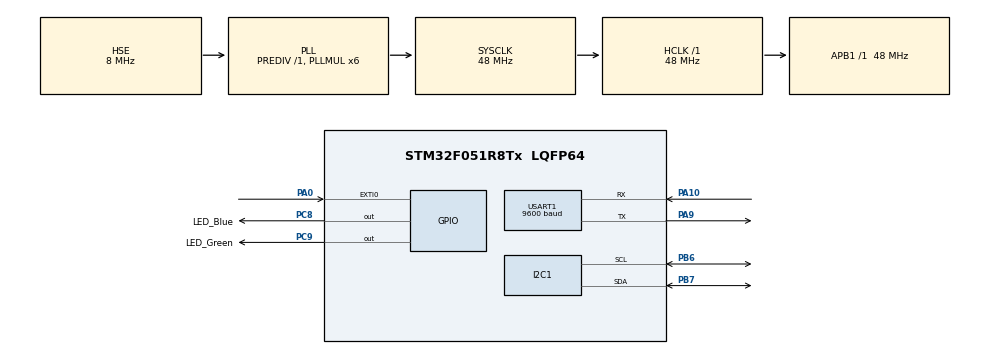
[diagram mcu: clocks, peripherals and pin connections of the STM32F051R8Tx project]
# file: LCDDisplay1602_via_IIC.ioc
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Dma.I2C1_TX.1.Direction=DMA_MEMORY_TO_PERIPH
Dma.I2C1_TX.1.Instance=DMA1_Channel2
Dma.I2C1_TX.1.MemDataAlignment=DMA_MDATAALIGN_BYTE
Dma.I2C1_TX.1.MemInc=DMA_MINC_ENABLE
Dma.I2C1_TX.1.Mode=DMA_NORMAL
Dma.I2C1_TX.1.PeriphDataAlignment=DMA_PDATAALIGN_BYTE
Dma.I2C1_TX.1.PeriphInc=DMA_PINC_DISABLE
Dma.I2C1_TX.1.Priority=DMA_PRIORITY_LOW
Dma.Request0=USART1_TX
Dma.Request1=I2C1_TX
Dma.USART1_TX.0.Direction=DMA_MEMORY_TO_PERIPH
Dma.USART1_TX.0.Instance=DMA1_Channel4
Dma.USART1_TX.0.MemDataAlignment=DMA_MDATAALIGN_BYTE
Dma.USART1_TX.0.MemInc=DMA_MINC_ENABLE
Dma.USART1_TX.0.Mode=DMA_NORMAL
Dma.USART1_TX.0.PeriphDataAlignment=DMA_PDATAALIGN_BYTE
Dma.USART1_TX.0.PeriphInc=DMA_PINC_DISABLE
Dma.USART1_TX.0.Priority=DMA_PRIORITY_LOW
I2C1.Timing=0x00201D2B
Mcu.Family=STM32F0
Mcu.Name=STM32F051R8Tx
Mcu.Package=LQFP64
NVIC.DMA1_Channel2_3_IRQn=true\:0\:0\:false\:false\:true\:false\:true\:true
NVIC.DMA1_Channel4_5_IRQn=true\:0\:0\:false\:false\:true\:false\:true\:true
NVIC.EXTI0_1_IRQn=true\:0\:0\:false\:false\:true\:true\:true\:true
NVIC.I2C1_IRQn=true\:0\:0\:false\:false\:true\:true\:true\:true
NVIC.TIM14_IRQn=true\:0\:0\:false\:false\:true\:true\:true\:true
NVIC.TIM6_DAC_IRQn=true\:0\:0\:false\:false\:true\:true\:true\:true
NVIC.USART1_IRQn=true\:0\:0\:false\:false\:true\:true\:true\:true
PA0.Signal=GPXTI0
PA10.Mode=Asynchronous
PA10.Signal=USART1_RX
PA9.Mode=Asynchronous
PA9.Signal=USART1_TX
PB6.GPIO_Pu=GPIO_PULLUP
PB6.Mode=I2C
PB6.Signal=I2C1_SCL
PB7.GPIO_Pu=GPIO_PULLUP
PB7.Mode=I2C
PB7.Signal=I2C1_SDA
PC8.GPIO_Label=LED_Blue
PC8.Signal=GPIO_Output
PC9.GPIO_Label=LED_Green
PC9.Signal=GPIO_Output
PF0-OSC_IN.Mode=HSE-External-Oscillator
PF0-OSC_IN.Signal=RCC_OSC_IN
PF1-OSC_OUT.Mode=HSE-External-Oscillator
PF1-OSC_OUT.Signal=RCC_OSC_OUT
ProjectManager.HeapSize=0x200
ProjectManager.StackSize=0x400
ProjectManager.TargetToolchain=STM32CubeIDE
RCC.AHBFreq_Value=48000000
RCC.APB1Freq_Value=48000000
RCC.APB1TimFreq_Value=48000000
RCC.HCLKFreq_Value=48000000
RCC.PLLMUL=RCC_PLL_MUL6
RCC.PLLSourceVirtual=RCC_PLLSOURCE_HSE
RCC.SYSCLKFreq_VALUE=48000000
RCC.SYSCLKSource=RCC_SYSCLKSOURCE_PLLCLK
TIM14.Period=1000-1
TIM14.Prescaler=48000-1
TIM6.Period=65535-1
TIM6.Prescaler=48-1
USART1.BaudRate=9600
USART1.VirtualMode-Asynchronous=VM_ASYNC
VP_TIM14_VS_ClockSourceINT.Mode=Enable_Timer
VP_TIM6_VS_ClockSourceINT.Mode=Enable_Timer
board=custom

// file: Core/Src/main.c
/* USER CODE BEGIN Header */
/*
 * LCD Display 1602A
 * Some code taken from: https://controllerstech.com/i2c-lcd-in-stm32/
 */
/* USER CODE END Header */
#include "main.h"

/* USER CODE BEGIN Includes */
#include <stdio.h>
/* USER CODE END Includes */

/* USER CODE BEGIN PD */
#define LCD_IIC_ADDR 0x27 << 1 	// ADDR 0x27<<1 Checked!
#define LCD_BACKLIGHT 0x08   	// Backlight ON/OFF
#define LCD_ENABLE 0x04      	// Enable bit
#define LCD_RS 0x01          	// Selects registers (Instruction or Data register)
/* USER CODE END PD */

I2C_HandleTypeDef hi2c1;
DMA_HandleTypeDef hdma_i2c1_tx;

TIM_HandleTypeDef htim6;
TIM_HandleTypeDef htim14;

UART_HandleTypeDef huart1;
DMA_HandleTypeDef hdma_usart1_tx;

/* USER CODE BEGIN PV */
uint8_t counter_periodic = 0;
uint8_t counter_button_pressed = 0;
char uart_tx_buffer_periodic[50];
char uart_tx_buffer_counter_button_pressed[50];
char iic_tx_buffer_periodic[16];
char iic_tx_buffer_counter_button_pressed[16];
/* USER CODE END PV */

void SystemClock_Config(void);
static void MX_GPIO_Init(void);
static void MX_DMA_Init(void);
static void MX_I2C1_Init(void);
static void MX_TIM6_Init(void);
static void MX_USART1_UART_Init(void);
static void MX_TIM14_Init(void);
/* USER CODE BEGIN PFP */
void lcd_iic_send_cmd (char cmd)
{
	char data_u, data_l;
	data_u = (cmd&0xf0);
	data_l = ((cmd<<4)&0xf0);
	uint8_t data_t[4];
	data_t[0] = data_u|0x0C;  //en=1, rs=0 -> bxxxx1100
	data_t[1] = data_u|0x08;  //en=0, rs=0 -> bxxxx1000
	data_t[2] = data_l|0x0C;  //en=1, rs=0 -> bxxxx1100
	data_t[3] = data_l|0x08;  //en=0, rs=0 -> bxxxx1000
	HAL_I2C_Master_Transmit (&hi2c1, LCD_IIC_ADDR,(uint8_t *) data_t, 4, 100);
}

void lcd_iic_send_data (char data)
{
	char data_u, data_l;
	uint8_t data_t[4];
	data_u = (data&0xf0);
	data_l = ((data<<4)&0xf0);
	data_t[0] = data_u|0x0D;  //en=1, rs=1 -> bxxxx1101
	data_t[1] = data_u|0x09;  //en=0, rs=1 -> bxxxx1001
	data_t[2] = data_l|0x0D;  //en=1, rs=1 -> bxxxx1101
	data_t[3] = data_l|0x09;  //en=0, rs=1 -> bxxxx1001
	HAL_I2C_Master_Transmit (&hi2c1, LCD_IIC_ADDR,(uint8_t *) data_t, 4, 100);
}

void lcd_iic_init (void)
{
  Delay_Ms(150);  // wait some extra ms
  // 4 bit initialisation
  Delay_Ms(50);  // wait for >40ms
  lcd_iic_send_cmd (0x30);
  Delay_Ms(5);  // wait for >4.1ms
  lcd_iic_send_cmd (0x30);
  Delay_Ms(1);  // wait for >100us
  lcd_iic_send_cmd (0x30);
  Delay_Ms(10);
  lcd_iic_send_cmd (0x20);  // 4bit mode
  Delay_Ms(10);

  // display initialisation
  lcd_iic_send_cmd (0x28); // Function set --> DL=0 (4 bit mode), N = 1 (2 line display) F = 0 (5x8 characters)
  Delay_Ms(1);
  lcd_iic_send_cmd (0x08); //Display on/off control --> D=0,C=0, B=0  ---> display off
  Delay_Ms(1);
  lcd_iic_send_cmd (0x01);  // clear display
  Delay_Ms(2);
  lcd_iic_send_cmd (0x06); //Entry mode set --> I/D = 1 (increment cursor) & S = 0 (no shift)
  Delay_Ms(1);
  lcd_iic_send_cmd (0x0C); //Display on/off control --> D = 1, C and B = 0. (Cursor and blink, last two bits)
}

void lcd_iic_send_string (char *str)
{
  while (*str) lcd_iic_send_data (*str++);
}

void lcd_iic_put_cursor(int row, int col)
{
    switch (row)
    {
        case 0:
            col |= 0x80;
            break;
        case 1:
            col |= 0xC0;
            break;
    }
    lcd_iic_send_cmd (col);
}
/* USER CODE END PFP */

int main(void)
{

  /* MCU Configuration--------------------------------------------------------*/

  /* Reset of all peripherals, Initializes the Flash interface and the Systick. */
  HAL_Init();

  /* Configure the system clock */
  SystemClock_Config();

  /* Initialize all configured peripherals */
  MX_GPIO_Init();
  MX_DMA_Init();
  MX_I2C1_Init();
  MX_TIM6_Init();
  MX_USART1_UART_Init();
  MX_TIM14_Init();
  /* USER CODE BEGIN 2 */
  // Send init msg through UART
  uint8_t msg_init[] = "Program started.\r\n";
  HAL_UART_Transmit_DMA(&huart1, msg_init, sizeof(msg_init));

  // initilize lcd display and send string to Display
  lcd_iic_init ();
  lcd_iic_put_cursor(0, 0);
  lcd_iic_send_string ("Program started.");

  // Start timer interrupt (1 sec)
  HAL_TIM_Base_Start_IT(&htim14);

  /* USER CODE END 2 */

  /* Infinite loop */
  /* USER CODE BEGIN WHILE */
  while (1)
  {
	  __WFI();
    /* USER CODE END WHILE */

  }
}

void SystemClock_Config(void)
{
  RCC_OscInitTypeDef RCC_OscInitStruct = {0};
  RCC_ClkInitTypeDef RCC_ClkInitStruct = {0};
  RCC_PeriphCLKInitTypeDef PeriphClkInit = {0};

  /** Initializes the RCC Oscillators according to the specified parameters
  * in the RCC_OscInitTypeDef structure.
  */
  RCC_OscInitStruct.OscillatorType = RCC_OSCILLATORTYPE_HSI|RCC_OSCILLATORTYPE_HSE;
  RCC_OscInitStruct.HSEState = RCC_HSE_ON;
  RCC_OscInitStruct.HSIState = RCC_HSI_ON;
  RCC_OscInitStruct.HSICalibrationValue = RCC_HSICALIBRATION_DEFAULT;
  RCC_OscInitStruct.PLL.PLLState = RCC_PLL_ON;
  RCC_OscInitStruct.PLL.PLLSource = RCC_PLLSOURCE_HSE;
  RCC_OscInitStruct.PLL.PLLMUL = RCC_PLL_MUL6;
  RCC_OscInitStruct.PLL.PREDIV = RCC_PREDIV_DIV1;
  if (HAL_RCC_OscConfig(&RCC_OscInitStruct) != HAL_OK)
  {
    Error_Handler();
  }

  /** Initializes the CPU, AHB and APB buses clocks
  */
  RCC_ClkInitStruct.ClockType = RCC_CLOCKTYPE_HCLK|RCC_CLOCKTYPE_SYSCLK
                              |RCC_CLOCKTYPE_PCLK1;
  RCC_ClkInitStruct.SYSCLKSource = RCC_SYSCLKSOURCE_PLLCLK;
  RCC_ClkInitStruct.AHBCLKDivider = RCC_SYSCLK_DIV1;
  RCC_ClkInitStruct.APB1CLKDivider = RCC_HCLK_DIV1;

  if (HAL_RCC_ClockConfig(&RCC_ClkInitStruct, FLASH_LATENCY_1) != HAL_OK)
  {
    Error_Handler();
  }
  PeriphClkInit.PeriphClockSelection = RCC_PERIPHCLK_USART1|RCC_PERIPHCLK_I2C1;
  PeriphClkInit.Usart1ClockSelection = RCC_USART1CLKSOURCE_PCLK1;
  PeriphClkInit.I2c1ClockSelection = RCC_I2C1CLKSOURCE_HSI;
  if (HAL_RCCEx_PeriphCLKConfig(&PeriphClkInit) != HAL_OK)
  {
    Error_Handler();
  }
}

static void MX_I2C1_Init(void)
{

  hi2c1.Instance = I2C1;
  hi2c1.Init.Timing = 0x00201D2B;
  hi2c1.Init.OwnAddress1 = 0;
  hi2c1.Init.AddressingMode = I2C_ADDRESSINGMODE_7BIT;
  hi2c1.Init.DualAddressMode = I2C_DUALADDRESS_DISABLE;
  hi2c1.Init.OwnAddress2 = 0;
  hi2c1.Init.OwnAddress2Masks = I2C_OA2_NOMASK;
  hi2c1.Init.GeneralCallMode = I2C_GENERALCALL_DISABLE;
  hi2c1.Init.NoStretchMode = I2C_NOSTRETCH_DISABLE;
  if (HAL_I2C_Init(&hi2c1) != HAL_OK)
  {
    Error_Handler();
  }

  /** Configure Analogue filter
  */
  if (HAL_I2CEx_ConfigAnalogFilter(&hi2c1, I2C_ANALOGFILTER_ENABLE) != HAL_OK)
  {
    Error_Handler();
  }

  /** Configure Digital filter
  */
  if (HAL_I2CEx_ConfigDigitalFilter(&hi2c1, 0) != HAL_OK)
  {
    Error_Handler();
  }

}

static void MX_TIM6_Init(void)
{

  TIM_MasterConfigTypeDef sMasterConfig = {0};

  htim6.Instance = TIM6;
  htim6.Init.Prescaler = 48-1;
  htim6.Init.CounterMode = TIM_COUNTERMODE_UP;
  htim6.Init.Period = 65535-1;
  htim6.Init.AutoReloadPreload = TIM_AUTORELOAD_PRELOAD_DISABLE;
  if (HAL_TIM_Base_Init(&htim6) != HAL_OK)
  {
    Error_Handler();
  }
  sMasterConfig.MasterOutputTrigger = TIM_TRGO_RESET;
  sMasterConfig.MasterSlaveMode = TIM_MASTERSLAVEMODE_DISABLE;
  if (HAL_TIMEx_MasterConfigSynchronization(&htim6, &sMasterConfig) != HAL_OK)
  {
    Error_Handler();
  }

}

static void MX_TIM14_Init(void)
{

  htim14.Instance = TIM14;
  htim14.Init.Prescaler = 48000-1;
  htim14.Init.CounterMode = TIM_COUNTERMODE_UP;
  htim14.Init.Period = 1000-1;
  htim14.Init.ClockDivision = TIM_CLOCKDIVISION_DIV1;
  htim14.Init.AutoReloadPreload = TIM_AUTORELOAD_PRELOAD_DISABLE;
  if (HAL_TIM_Base_Init(&htim14) != HAL_OK)
  {
    Error_Handler();
  }

}

static void MX_USART1_UART_Init(void)
{

  huart1.Instance = USART1;
  huart1.Init.BaudRate = 9600;
  huart1.Init.WordLength = UART_WORDLENGTH_8B;
  huart1.Init.StopBits = UART_STOPBITS_1;
  huart1.Init.Parity = UART_PARITY_NONE;
  huart1.Init.Mode = UART_MODE_TX_RX;
  huart1.Init.HwFlowCtl = UART_HWCONTROL_NONE;
  huart1.Init.OverSampling = UART_OVERSAMPLING_16;
  huart1.Init.OneBitSampling = UART_ONE_BIT_SAMPLE_DISABLE;
  huart1.AdvancedInit.AdvFeatureInit = UART_ADVFEATURE_NO_INIT;
  if (HAL_UART_Init(&huart1) != HAL_OK)
  {
    Error_Handler();
  }

}

static void MX_DMA_Init(void)
{

  /* DMA controller clock enable */
  __HAL_RCC_DMA1_CLK_ENABLE();

  /* DMA interrupt init */
  /* DMA1_Channel2_3_IRQn interrupt configuration */
  HAL_NVIC_SetPriority(DMA1_Channel2_3_IRQn, 0, 0);
  HAL_NVIC_EnableIRQ(DMA1_Channel2_3_IRQn);
  /* DMA1_Channel4_5_IRQn interrupt configuration */
  HAL_NVIC_SetPriority(DMA1_Channel4_5_IRQn, 0, 0);
  HAL_NVIC_EnableIRQ(DMA1_Channel4_5_IRQn);

}

static void MX_GPIO_Init(void)
{
  GPIO_InitTypeDef GPIO_InitStruct = {0};

  /* GPIO Ports Clock Enable */
  __HAL_RCC_GPIOF_CLK_ENABLE();
  __HAL_RCC_GPIOA_CLK_ENABLE();
  __HAL_RCC_GPIOC_CLK_ENABLE();
  __HAL_RCC_GPIOB_CLK_ENABLE();

  /*Configure GPIO pin Output Level */
  HAL_GPIO_WritePin(GPIOC, LED_Blue_Pin|LED_Green_Pin, GPIO_PIN_RESET);

  /*Configure GPIO pin : PA0 */
  GPIO_InitStruct.Pin = GPIO_PIN_0;
  GPIO_InitStruct.Mode = GPIO_MODE_IT_RISING;
  GPIO_InitStruct.Pull = GPIO_NOPULL;
  HAL_GPIO_Init(GPIOA, &GPIO_InitStruct);

  /*Configure GPIO pins : LED_Blue_Pin LED_Green_Pin */
  GPIO_InitStruct.Pin = LED_Blue_Pin|LED_Green_Pin;
  GPIO_InitStruct.Mode = GPIO_MODE_OUTPUT_PP;
  GPIO_InitStruct.Pull = GPIO_NOPULL;
  GPIO_InitStruct.Speed = GPIO_SPEED_FREQ_LOW;
  HAL_GPIO_Init(GPIOC, &GPIO_InitStruct);

  /* EXTI interrupt init*/
  HAL_NVIC_SetPriority(EXTI0_1_IRQn, 0, 0);
  HAL_NVIC_EnableIRQ(EXTI0_1_IRQn);

}

/* USER CODE BEGIN 4 */
/*
 * Callback function on Push-Button clicked.
 */
void HAL_GPIO_EXTI_Callback(uint16_t GPIO_Pin)
{
	HAL_GPIO_TogglePin(GPIOC, LED_Green_Pin); // Toggle Green LED

	// Send out message via UART
	sprintf(uart_tx_buffer_counter_button_pressed,
			"Button pressed counter: %d\r\n",
			counter_button_pressed
			);
	HAL_UART_Transmit_DMA(&huart1,
			uart_tx_buffer_counter_button_pressed,
			sizeof(uart_tx_buffer_counter_button_pressed)
			);

	// Send message to LCD display
	sprintf(iic_tx_buffer_counter_button_pressed, "Btn-Pressed: %d", counter_periodic);
	lcd_iic_put_cursor(1, 0);
	lcd_iic_send_string (iic_tx_buffer_counter_button_pressed);

	counter_button_pressed++;
	if (counter_button_pressed>=255) // Reset counter when reaching value 255
	{
		counter_button_pressed = 0;
		lcd_iic_init();
	}
}

void HAL_TIM_PeriodElapsedCallback(TIM_HandleTypeDef *htim)
{
	/* Prevent unused argument(s) compilation warning */
	  UNUSED(htim);

	  // Toggle the LEDs
	  if (htim->Instance == TIM14){
		  	HAL_StatusTypeDef status_uart;

		  	HAL_GPIO_TogglePin(GPIOC, LED_Blue_Pin);

		  	sprintf(uart_tx_buffer_periodic, "Periodic counter: %d\r\n", counter_periodic);
		  	HAL_UART_Transmit_DMA(&huart1, uart_tx_buffer_periodic, sizeof(uart_tx_buffer_periodic));

		  	sprintf(iic_tx_buffer_periodic, "Tim-Counter: %d", counter_periodic);
//		  	lcd_iic_init();
		  	lcd_iic_put_cursor(0, 0);
			lcd_iic_send_string (iic_tx_buffer_periodic);

		  	counter_periodic++;
		  	if (counter_periodic>=255) // Reset counter when reaching value 255
		  	{
		  		counter_periodic = 0;
		  		lcd_iic_init();
		  	}
	  }
}

/*
 * Fun: Delay in us (micro-second)
 * Reset the Counter
 * Wait for the Counter to reach the input value (us)
 * Each Count take 1 us.
 */
void Delay_Us(uint16_t us)
{
	TIM6->CNT = 0x0000; // set timer count to 0 (zero)
	//__HAL_TIM_SET_COUNTER(&htim6, 0); // Reset the counter
	HAL_TIM_Base_Start(&htim6);	// start the timer
//	while (TIM6->CNT < us);
	while (__HAL_TIM_GET_COUNTER(&htim6) < us); // Wait until the counter reaches the delay value
	HAL_TIM_Base_Stop(&htim6);	// stop the timer
}

void Delay_Ms(uint16_t sec)
{
	for (uint16_t i=0; i<sec; i++)
	{
		Delay_Us(1000);	// delay of 1 ms
	}
}

void Delay_S(uint16_t sec)
{
	for (uint16_t i=0; i<sec; i++)
	{
		Delay_Ms(1000);	// delay of 1 sec
	}
}
/* USER CODE END 4 */

void Error_Handler(void)
{
  __disable_irq();
  while (1)
  {
  }
}
